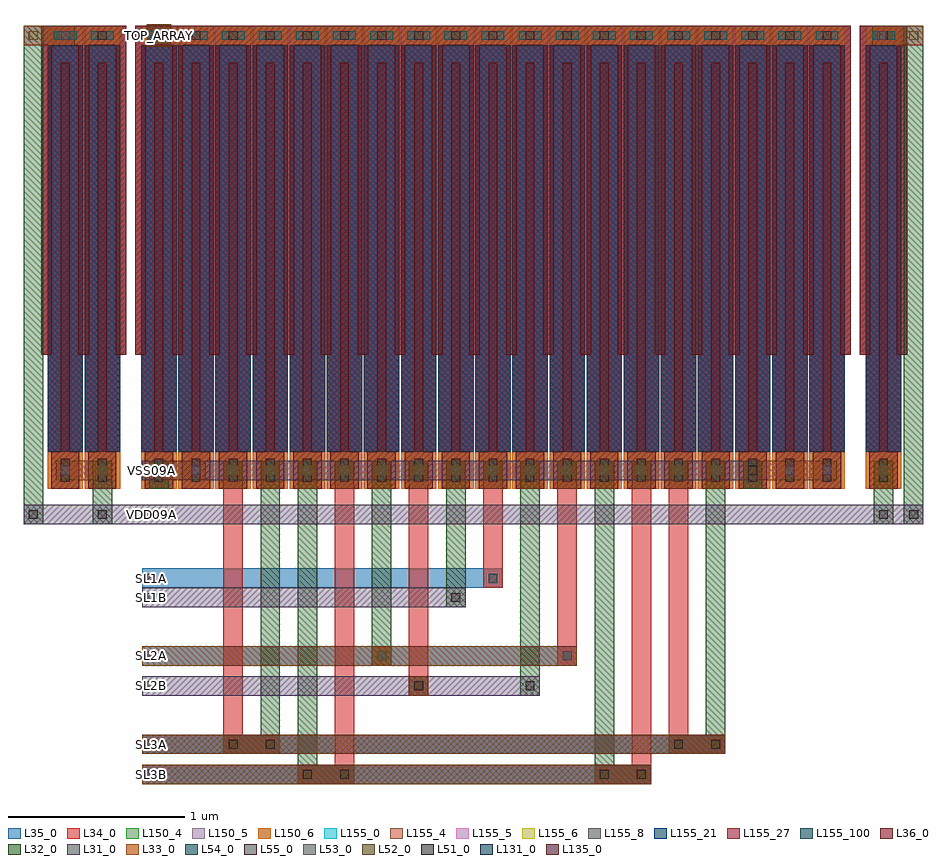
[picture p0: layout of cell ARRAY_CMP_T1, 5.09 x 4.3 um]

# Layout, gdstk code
from math import pi, radians
import gdstk
lib = gdstk.Library(unit=1e-6, precision=1e-09)
def R(c, l, rs):  # rectangles x0, y0, x1, y1
    for r in rs: c.add(gdstk.rectangle(r[:2], r[2:], *l))
def A(c, l, x, y, w, h, nx, ny, dx, dy):  # array of equal rectangles
    R(c, l, [(x+i*dx, y+j*dy, x+i*dx+w, y+j*dy+h) for i in range(nx) for j in range(ny)])
L31_0 = (31, 0)
L32_0 = (32, 0)
L33_0 = (33, 0)
L34_0 = (34, 0)
L35_0 = (35, 0)
L36_0 = (36, 0)
L51_0 = (51, 0)
L52_0 = (52, 0)
L53_0 = (53, 0)
L54_0 = (54, 0)
L55_0 = (55, 0)
L131_0 = (131, 0)
L135_0 = (135, 0)
L150_4 = (150, 4)
L150_5 = (150, 5)
L150_6 = (150, 6)
L155_0 = (155, 0)
L155_4 = (155, 4)
L155_5 = (155, 5)
L155_6 = (155, 6)
L155_8 = (155, 8)
L155_21 = (155, 21)
L155_27 = (155, 27)
L155_100 = (155, 100)

m5_m4_cdns_618055442297 = lib.new_cell('M5_M4_CDNS_618055442297')
R(m5_m4_cdns_618055442297, L34_0, [(-0.07,-0.105,0.07,0.105)])
R(m5_m4_cdns_618055442297, L35_0, [(-0.07,-0.105,0.07,0.105)])
R(m5_m4_cdns_618055442297, L54_0, [(-0.025,-0.065,0.025,0.065)])

m6_m5_cdns_618055442298 = lib.new_cell('M6_M5_CDNS_618055442298')
R(m6_m5_cdns_618055442298, L35_0, [(-0.07,-0.105,0.07,0.105)])
R(m6_m5_cdns_618055442298, L36_0, [(-0.055,-0.105,0.055,0.105)])
R(m6_m5_cdns_618055442298, L55_0, [(-0.025,-0.065,0.025,0.065)])

m5_m4_cdns_618055442299 = lib.new_cell('M5_M4_CDNS_618055442299')
R(m5_m4_cdns_618055442299, L34_0, [(-0.095,-0.055,0.095,0.055)])
R(m5_m4_cdns_618055442299, L35_0, [(-0.12,-0.055,0.12,0.055)])
R(m5_m4_cdns_618055442299, L54_0, [(-0.065,-0.025,0.065,0.025)])

m6_m5_cdns_6180554422910 = lib.new_cell('M6_M5_CDNS_6180554422910')
R(m6_m5_cdns_6180554422910, L35_0, [(-0.055,-0.055,0.055,0.055)])
R(m6_m5_cdns_6180554422910, L36_0, [(-0.055,-0.055,0.055,0.055)])
R(m6_m5_cdns_6180554422910, L55_0, [(-0.025,-0.025,0.025,0.025)])

cu1f = lib.new_cell('CU1F')
R(cu1f, L34_0, [(0.02,0,0.18,0.21), (-0.035,2.51,0.235,2.62)])
R(cu1f, L35_0, [(0.02,0,0.18,0.21), (-0.035,2.51,0.235,2.62)])
R(cu1f, L36_0, [(0.02,0,0.18,0.21), (-0.035,2.51,0.235,2.62)])
R(cu1f, L150_4, [(0,0,0.2,2.62)])
R(cu1f, L150_5, [(0,0,0.2,2.62)])
R(cu1f, L150_6, [(0,0,0.2,2.62)])
R(cu1f, L155_0, [(0,0.21,0.2,2.51)])
R(cu1f, L155_4, [(0,0.21,0.2,2.51)])
R(cu1f, L155_5, [(0,0.21,0.2,2.51)])
R(cu1f, L155_6, [(0,0.21,0.2,2.51)])
R(cu1f, L155_8, [(0,0.21,0.2,2.51)])
R(cu1f, L155_21, [(0,0.21,0.2,2.51)])
R(cu1f, L155_27, [(0,0.21,0.2,2.51)])
R(cu1f, L155_100, [(0,0.21,0.2,2.51)])
cu1f.add(gdstk.FlexPath([(0.205,2.59),(0.205,0.76)], 0.06, ends=(0.03, 0), simple_path=True, layer=34, datatype=0))  # L34_0
cu1f.add(gdstk.FlexPath([(0.1,2.41),(0.1,0)], 0.05, ends="flush", simple_path=True, layer=34, datatype=0))  # L34_0
cu1f.add(gdstk.FlexPath([(-0.005,2.59),(-0.005,0.76)], 0.06, ends=(0.03, 0), simple_path=True, layer=34, datatype=0))  # L34_0
cu1f.add(gdstk.FlexPath([(0.205,0.76),(0.205,2.59)], 0.06, ends=(0, 0.03), simple_path=True, layer=35, datatype=0))  # L35_0
cu1f.add(gdstk.FlexPath([(0.1,2.41),(0.1,0)], 0.05, ends="flush", simple_path=True, layer=35, datatype=0))  # L35_0
cu1f.add(gdstk.FlexPath([(-0.005,0.76),(-0.005,2.59)], 0.06, ends=(0, 0.03), simple_path=True, layer=35, datatype=0))  # L35_0
cu1f.add(gdstk.FlexPath([(0.205,0.76),(0.205,2.59)], 0.06, ends=(0, 0.03), simple_path=True, layer=36, datatype=0))  # L36_0
cu1f.add(gdstk.FlexPath([(0.1,2.41),(0.1,0)], 0.05, ends="flush", simple_path=True, layer=36, datatype=0))  # L36_0
cu1f.add(gdstk.FlexPath([(-0.005,0.76),(-0.005,2.59)], 0.06, ends=(0, 0.03), simple_path=True, layer=36, datatype=0))  # L36_0
cu1f.add(gdstk.Reference(m5_m4_cdns_618055442297, (0.1,0.105), rotation=pi, x_reflection=True))
cu1f.add(gdstk.Reference(m6_m5_cdns_618055442298, (0.1,0.105), rotation=pi, x_reflection=True))
cu1f.add(gdstk.Reference(m5_m4_cdns_618055442299, (0.1,2.565)))
cu1f.add(gdstk.Reference(m6_m5_cdns_6180554422910, (0.1,2.565)))

m2_m1_cdns_618055442290 = lib.new_cell('M2_M1_CDNS_618055442290')
R(m2_m1_cdns_618055442290, L31_0, [(-0.055,-0.055,0.055,0.055)])
R(m2_m1_cdns_618055442290, L32_0, [(-0.055,-0.055,0.055,0.055)])
R(m2_m1_cdns_618055442290, L51_0, [(-0.025,-0.025,0.025,0.025)])

m3_m2_cdns_618055442291 = lib.new_cell('M3_M2_CDNS_618055442291')
R(m3_m2_cdns_618055442291, L32_0, [(-0.055,-0.055,0.055,0.055)])
R(m3_m2_cdns_618055442291, L33_0, [(-0.055,-0.055,0.055,0.055)])
R(m3_m2_cdns_618055442291, L52_0, [(-0.025,-0.025,0.025,0.025)])

m4_m3_cdns_618055442292 = lib.new_cell('M4_M3_CDNS_618055442292')
R(m4_m3_cdns_618055442292, L33_0, [(-0.055,-0.055,0.055,0.055)])
R(m4_m3_cdns_618055442292, L34_0, [(-0.055,-0.055,0.055,0.055)])
R(m4_m3_cdns_618055442292, L53_0, [(-0.025,-0.025,0.025,0.025)])

m4_m3_cdns_618055442293 = lib.new_cell('M4_M3_CDNS_618055442293')
R(m4_m3_cdns_618055442293, L33_0, [(-0.07,-0.065,0.07,0.065)])
R(m4_m3_cdns_618055442293, L34_0, [(-0.055,-0.055,0.055,0.055)])
R(m4_m3_cdns_618055442293, L53_0, [(-0.025,-0.025,0.025,0.025)])

m3_m2_cdns_618055442294 = lib.new_cell('M3_M2_CDNS_618055442294')
R(m3_m2_cdns_618055442294, L32_0, [(-0.065,-0.06,0.065,0.06)])
R(m3_m2_cdns_618055442294, L33_0, [(-0.07,-0.065,0.07,0.065)])
R(m3_m2_cdns_618055442294, L52_0, [(-0.025,-0.025,0.025,0.025)])

m2_m1_cdns_618055442295 = lib.new_cell('M2_M1_CDNS_618055442295')
R(m2_m1_cdns_618055442295, L31_0, [(-0.055,-0.055,0.055,0.055)])
R(m2_m1_cdns_618055442295, L32_0, [(-0.065,-0.06,0.065,0.06)])
R(m2_m1_cdns_618055442295, L51_0, [(-0.025,-0.025,0.025,0.025)])

m5_m4_cdns_618055442296 = lib.new_cell('M5_M4_CDNS_618055442296')
R(m5_m4_cdns_618055442296, L34_0, [(-0.055,-0.055,0.055,0.055)])
R(m5_m4_cdns_618055442296, L35_0, [(-0.055,-0.055,0.055,0.055)])
R(m5_m4_cdns_618055442296, L54_0, [(-0.025,-0.025,0.025,0.025)])

array_cmp_t1 = lib.new_cell('ARRAY_CMP_T1')
R(array_cmp_t1, L31_0, [(0.535,-1.67,3.415,-1.56), (0.535,-1.5,3.835,-1.39), (0.535,-1.17,2.785,-1.06), (0.535,-0.67,2.365,-0.56), (-0.135,-0.2,4.955,-0.09), (0.535,0.05,4.045,0.16), (0.56,2.5,0.7,2.63)])
R(array_cmp_t1, L32_0, [(1.415,-1.67,1.525,0.16), (1.415,-1.67,1.735,-1.56), (3.095,-1.67,3.205,0.16), (3.095,-1.67,3.415,-1.56), (0.995,-1.5,1.315,-1.39), (1.205,-1.5,1.315,0.16), (3.515,-1.5,3.835,-1.39), (3.725,-1.5,3.835,0.16), (2.675,-1.17,2.785,0.16), (1.835,-1,1.945,0.16), (2.255,-0.67,2.365,0.16), (-0.135,-0.2,-0.025,2.62), (0.255,-0.2,0.365,0.16), (4.675,-0.2,4.785,0.16), (4.845,-0.2,4.955,2.62), (0.575,0,0.685,0.16), (3.935,0,4.045,0.16)])
A(array_cmp_t1, L33_0, 0.995, 0, 0.11, 0.16, 14, 1, 0.21, 0)
R(array_cmp_t1, L33_0, [(0.535,-1.67,3.415,-1.56), (0.535,-1.5,3.835,-1.39), (0.535,-1,2.995,-0.89), (4.675,0,4.785,0.16), (0.045,0.05,0.365,0.16), (0.575,0.05,0.895,0.16), (3.935,0.05,4.465,0.16), (-0.135,2.51,0.155,2.62), (4.665,2.51,4.955,2.62)])
R(array_cmp_t1, L34_0, [(1.415,-1.67,1.735,-1.56), (1.625,-1.67,1.735,0.16), (3.095,-1.67,3.415,-1.56), (3.305,-1.67,3.415,0.16), (0.995,-1.5,1.105,0.16), (0.995,-1.5,1.315,-1.39), (3.515,-1.5,3.625,0.16), (3.515,-1.5,3.835,-1.39), (2.045,-1.17,2.155,0.16), (2.885,-1,2.995,0.16), (2.465,-0.56,2.575,0.16)])
R(array_cmp_t1, L35_0, [(0.535,-1.67,3.415,-1.56), (0.535,-1.5,3.835,-1.39), (0.535,-1,2.995,-0.89), (0.535,-0.56,2.575,-0.45)])
A(array_cmp_t1, L131_0, 0.565, -1.64, 0.05, 0.05, 1, 3, 0, 0.5)
R(array_cmp_t1, L131_0, [(0.565,-0.17,0.615,-0.12), (0.565,0.08,0.615,0.13), (0.605,2.54,0.655,2.59)])
R(array_cmp_t1, L135_0, [(0.565,-1.47,0.615,-1.42), (0.565,-0.97,0.615,-0.92), (0.565,-0.53,0.615,-0.48)])
array_cmp_t1.add(gdstk.Reference(cu1f, (0,0)))
array_cmp_t1.add(gdstk.Reference(cu1f, (0.21,0)))
array_cmp_t1.add(gdstk.Reference(cu1f, (0.53,0)))
array_cmp_t1.add(gdstk.Reference(cu1f, (0.74,0)))
array_cmp_t1.add(gdstk.Reference(cu1f, (4.63,0)))
array_cmp_t1.add(gdstk.Reference(cu1f, (4.31,0)))
array_cmp_t1.add(gdstk.Reference(cu1f, (4.1,0)))
array_cmp_t1.add(gdstk.Reference(cu1f, (3.89,0)))
array_cmp_t1.add(gdstk.Reference(cu1f, (3.68,0)))
array_cmp_t1.add(gdstk.Reference(cu1f, (3.47,0)))
array_cmp_t1.add(gdstk.Reference(cu1f, (3.26,0)))
array_cmp_t1.add(gdstk.Reference(cu1f, (3.05,0)))
array_cmp_t1.add(gdstk.Reference(cu1f, (2.84,0)))
array_cmp_t1.add(gdstk.Reference(cu1f, (2.63,0)))
array_cmp_t1.add(gdstk.Reference(cu1f, (2.42,0)))
array_cmp_t1.add(gdstk.Reference(cu1f, (2.21,0)))
array_cmp_t1.add(gdstk.Reference(cu1f, (2,0)))
array_cmp_t1.add(gdstk.Reference(cu1f, (1.79,0)))
array_cmp_t1.add(gdstk.Reference(cu1f, (1.58,0)))
array_cmp_t1.add(gdstk.Reference(cu1f, (1.37,0)))
array_cmp_t1.add(gdstk.Reference(cu1f, (1.16,0)))
array_cmp_t1.add(gdstk.Reference(cu1f, (0.95,0)))
array_cmp_t1.add(gdstk.Reference(m2_m1_cdns_618055442290, (3.78,-1.445)))
array_cmp_t1.add(gdstk.Reference(m2_m1_cdns_618055442290, (3.36,-1.615)))
array_cmp_t1.add(gdstk.Reference(m2_m1_cdns_618055442290, (1.68,-1.615)))
array_cmp_t1.add(gdstk.Reference(m2_m1_cdns_618055442290, (1.26,-1.445)))
array_cmp_t1.add(gdstk.Reference(m2_m1_cdns_618055442290, (1.05,-1.445)))
array_cmp_t1.add(gdstk.Reference(m2_m1_cdns_618055442290, (3.15,-1.615)))
array_cmp_t1.add(gdstk.Reference(m2_m1_cdns_618055442290, (4.9,-0.145)))
array_cmp_t1.add(gdstk.Reference(m2_m1_cdns_618055442290, (-0.08,-0.145)))
array_cmp_t1.add(gdstk.Reference(m2_m1_cdns_618055442290, (3.99,0.105)))
array_cmp_t1.add(gdstk.Reference(m2_m1_cdns_618055442290, (1.47,-1.615)))
array_cmp_t1.add(gdstk.Reference(m2_m1_cdns_618055442290, (4.73,-0.145)))
array_cmp_t1.add(gdstk.Reference(m2_m1_cdns_618055442290, (0.31,-0.145)))
array_cmp_t1.add(gdstk.Reference(m2_m1_cdns_618055442290, (2.31,-0.615)))
array_cmp_t1.add(gdstk.Reference(m2_m1_cdns_618055442290, (2.1,-1.115)))
array_cmp_t1.add(gdstk.Reference(m2_m1_cdns_618055442290, (2.73,-1.115)))
array_cmp_t1.add(gdstk.Reference(m2_m1_cdns_618055442290, (3.57,-1.445)))
array_cmp_t1.add(gdstk.Reference(m2_m1_cdns_618055442290, (0.63,0.105)))
array_cmp_t1.add(gdstk.Reference(m3_m2_cdns_618055442291, (1.89,-0.945)))
array_cmp_t1.add(gdstk.Reference(m3_m2_cdns_618055442291, (3.78,-1.445)))
array_cmp_t1.add(gdstk.Reference(m3_m2_cdns_618055442291, (1.68,-1.615)))
array_cmp_t1.add(gdstk.Reference(m3_m2_cdns_618055442291, (1.26,-1.445)))
array_cmp_t1.add(gdstk.Reference(m3_m2_cdns_618055442291, (1.05,-1.445)))
array_cmp_t1.add(gdstk.Reference(m3_m2_cdns_618055442291, (3.36,-1.615)))
array_cmp_t1.add(gdstk.Reference(m3_m2_cdns_618055442291, (3.15,-1.615)))
array_cmp_t1.add(gdstk.Reference(m3_m2_cdns_618055442291, (4.9,2.565)))
array_cmp_t1.add(gdstk.Reference(m3_m2_cdns_618055442291, (-0.08,2.565)))
array_cmp_t1.add(gdstk.Reference(m3_m2_cdns_618055442291, (1.05,0.105)))
array_cmp_t1.add(gdstk.Reference(m3_m2_cdns_618055442291, (1.26,0.105)))
array_cmp_t1.add(gdstk.Reference(m3_m2_cdns_618055442291, (1.47,0.105)))
array_cmp_t1.add(gdstk.Reference(m3_m2_cdns_618055442291, (1.68,0.105)))
array_cmp_t1.add(gdstk.Reference(m3_m2_cdns_618055442291, (1.89,0.105)))
array_cmp_t1.add(gdstk.Reference(m3_m2_cdns_618055442291, (2.1,0.105)))
array_cmp_t1.add(gdstk.Reference(m3_m2_cdns_618055442291, (2.31,0.105)))
array_cmp_t1.add(gdstk.Reference(m3_m2_cdns_618055442291, (2.52,0.105)))
array_cmp_t1.add(gdstk.Reference(m3_m2_cdns_618055442291, (2.73,0.105)))
array_cmp_t1.add(gdstk.Reference(m3_m2_cdns_618055442291, (2.94,0.105)))
array_cmp_t1.add(gdstk.Reference(m3_m2_cdns_618055442291, (3.15,0.105)))
array_cmp_t1.add(gdstk.Reference(m3_m2_cdns_618055442291, (3.36,0.105)))
array_cmp_t1.add(gdstk.Reference(m3_m2_cdns_618055442291, (3.57,0.105)))
array_cmp_t1.add(gdstk.Reference(m3_m2_cdns_618055442291, (3.78,0.105)))
array_cmp_t1.add(gdstk.Reference(m3_m2_cdns_618055442291, (4.73,0.105)))
array_cmp_t1.add(gdstk.Reference(m3_m2_cdns_618055442291, (3.99,0.105)))
array_cmp_t1.add(gdstk.Reference(m3_m2_cdns_618055442291, (0.63,0.105)))
array_cmp_t1.add(gdstk.Reference(m3_m2_cdns_618055442291, (0.31,0.105)))
array_cmp_t1.add(gdstk.Reference(m3_m2_cdns_618055442291, (1.47,-1.615)))
array_cmp_t1.add(gdstk.Reference(m3_m2_cdns_618055442291, (2.1,-1.115)))
array_cmp_t1.add(gdstk.Reference(m3_m2_cdns_618055442291, (3.57,-1.445)))
array_cmp_t1.add(gdstk.Reference(m4_m3_cdns_618055442292, (3.78,-1.445)))
array_cmp_t1.add(gdstk.Reference(m4_m3_cdns_618055442292, (3.36,-1.615)))
array_cmp_t1.add(gdstk.Reference(m4_m3_cdns_618055442292, (1.68,-1.615)))
array_cmp_t1.add(gdstk.Reference(m4_m3_cdns_618055442292, (1.26,-1.445)))
array_cmp_t1.add(gdstk.Reference(m4_m3_cdns_618055442292, (1.05,-1.445)))
array_cmp_t1.add(gdstk.Reference(m4_m3_cdns_618055442292, (3.15,-1.615)))
array_cmp_t1.add(gdstk.Reference(m4_m3_cdns_618055442292, (4.72,2.565), rotation=pi, x_reflection=True))
array_cmp_t1.add(gdstk.Reference(m4_m3_cdns_618055442292, (0.1,2.565)))
array_cmp_t1.add(gdstk.Reference(m4_m3_cdns_618055442292, (1.05,0.105)))
array_cmp_t1.add(gdstk.Reference(m4_m3_cdns_618055442292, (1.26,0.105)))
array_cmp_t1.add(gdstk.Reference(m4_m3_cdns_618055442292, (1.47,0.105)))
array_cmp_t1.add(gdstk.Reference(m4_m3_cdns_618055442292, (1.68,0.105)))
array_cmp_t1.add(gdstk.Reference(m4_m3_cdns_618055442292, (1.89,0.105)))
array_cmp_t1.add(gdstk.Reference(m4_m3_cdns_618055442292, (2.1,0.105)))
array_cmp_t1.add(gdstk.Reference(m4_m3_cdns_618055442292, (2.31,0.105)))
array_cmp_t1.add(gdstk.Reference(m4_m3_cdns_618055442292, (2.52,0.105)))
array_cmp_t1.add(gdstk.Reference(m4_m3_cdns_618055442292, (2.73,0.105)))
array_cmp_t1.add(gdstk.Reference(m4_m3_cdns_618055442292, (2.94,0.105)))
array_cmp_t1.add(gdstk.Reference(m4_m3_cdns_618055442292, (3.15,0.105)))
array_cmp_t1.add(gdstk.Reference(m4_m3_cdns_618055442292, (3.36,0.105)))
array_cmp_t1.add(gdstk.Reference(m4_m3_cdns_618055442292, (3.57,0.105)))
array_cmp_t1.add(gdstk.Reference(m4_m3_cdns_618055442292, (3.78,0.105)))
array_cmp_t1.add(gdstk.Reference(m4_m3_cdns_618055442292, (4.73,0.105)))
array_cmp_t1.add(gdstk.Reference(m4_m3_cdns_618055442292, (1.47,-1.615)))
array_cmp_t1.add(gdstk.Reference(m4_m3_cdns_618055442292, (4.2,0.105)))
array_cmp_t1.add(gdstk.Reference(m4_m3_cdns_618055442292, (4.41,0.105)))
array_cmp_t1.add(gdstk.Reference(m4_m3_cdns_618055442292, (3.99,0.105)))
array_cmp_t1.add(gdstk.Reference(m4_m3_cdns_618055442292, (0.84,0.105)))
array_cmp_t1.add(gdstk.Reference(m4_m3_cdns_618055442292, (0.63,0.105)))
array_cmp_t1.add(gdstk.Reference(m4_m3_cdns_618055442292, (0.1,0.105)))
array_cmp_t1.add(gdstk.Reference(m4_m3_cdns_618055442292, (0.31,0.105)))
array_cmp_t1.add(gdstk.Reference(m4_m3_cdns_618055442292, (3.57,-1.445)))
array_cmp_t1.add(gdstk.Reference(m4_m3_cdns_618055442292, (1.89,-0.945)))
array_cmp_t1.add(gdstk.Reference(m4_m3_cdns_618055442292, (2.94,-0.945)))
array_cmp_t1.add(gdstk.Reference(m4_m3_cdns_618055442292, (2.1,-1.115)))
array_cmp_t1.add(gdstk.Reference(m4_m3_cdns_618055442293, (0.63,2.565)))
array_cmp_t1.add(gdstk.Reference(m3_m2_cdns_618055442294, (0.63,2.565)))
array_cmp_t1.add(gdstk.Reference(m2_m1_cdns_618055442295, (0.63,2.565)))
array_cmp_t1.add(gdstk.Reference(m5_m4_cdns_618055442296, (3.78,-1.445)))
array_cmp_t1.add(gdstk.Reference(m5_m4_cdns_618055442296, (1.89,-0.945)))
array_cmp_t1.add(gdstk.Reference(m5_m4_cdns_618055442296, (2.94,-0.945)))
array_cmp_t1.add(gdstk.Reference(m5_m4_cdns_618055442296, (2.52,-0.505)))
array_cmp_t1.add(gdstk.Reference(m5_m4_cdns_618055442296, (3.57,-1.445)))
array_cmp_t1.add(gdstk.Reference(m5_m4_cdns_618055442296, (1.47,-1.615)))
array_cmp_t1.add(gdstk.Reference(m5_m4_cdns_618055442296, (1.68,-1.615)))
array_cmp_t1.add(gdstk.Reference(m5_m4_cdns_618055442296, (1.26,-1.445)))
array_cmp_t1.add(gdstk.Reference(m5_m4_cdns_618055442296, (3.36,-1.615)))
array_cmp_t1.add(gdstk.Reference(m5_m4_cdns_618055442296, (3.15,-1.615)))
array_cmp_t1.add(gdstk.Reference(m5_m4_cdns_618055442296, (1.05,-1.445)))
array_cmp_t1.add(gdstk.Label('SL3A', (0.59,-1.445), layer=135, texttype=0))
array_cmp_t1.add(gdstk.Label('SL2A', (0.59,-0.945), layer=135, texttype=0))
array_cmp_t1.add(gdstk.Label('SL1A', (0.59,-0.505), layer=135, texttype=0))
array_cmp_t1.add(gdstk.Label('VDD09A', (0.59,-0.145), layer=131, texttype=0))
array_cmp_t1.add(gdstk.Label('SL1B', (0.59,-0.615), layer=131, texttype=0))
array_cmp_t1.add(gdstk.Label('VSS09A', (0.59,0.105), layer=131, texttype=0))
array_cmp_t1.add(gdstk.Label('SL2B', (0.59,-1.115), layer=131, texttype=0))
array_cmp_t1.add(gdstk.Label('TOP_ARRAY', (0.628,2.565), layer=131, texttype=0))
array_cmp_t1.add(gdstk.Label('SL3B', (0.59,-1.615), layer=131, texttype=0))

lib.write_gds('ARRAY_CMP_T1.gds')
